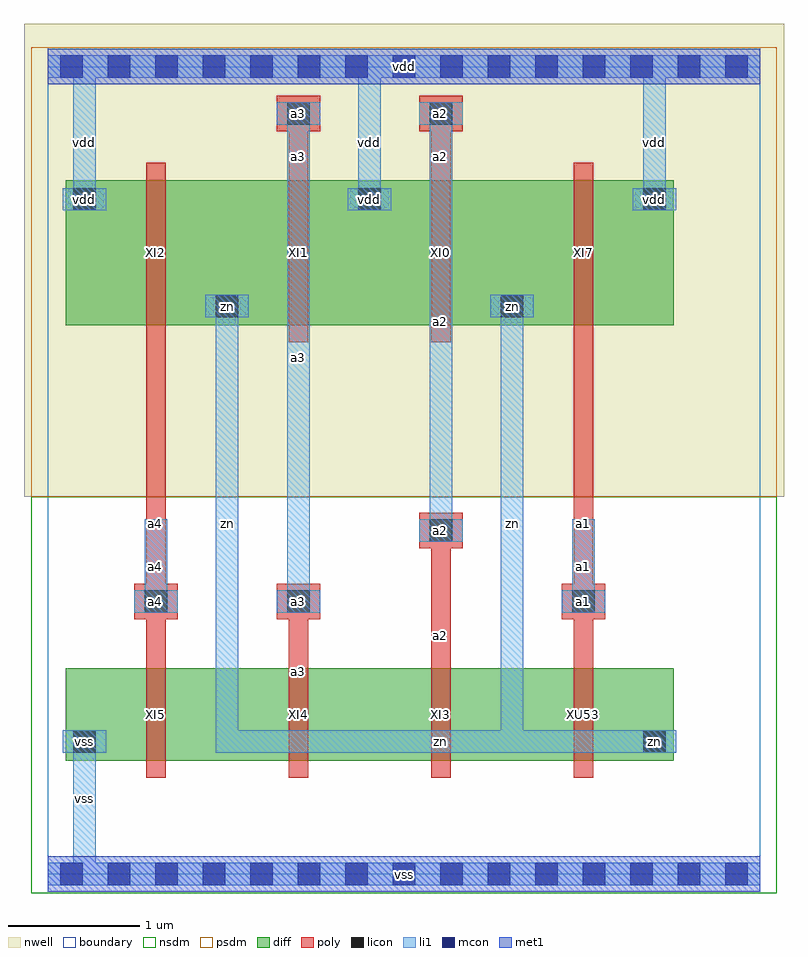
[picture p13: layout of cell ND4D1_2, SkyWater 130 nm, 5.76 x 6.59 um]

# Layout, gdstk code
import gdstk
lib = gdstk.Library(unit=1e-6, precision=1e-09)
def R(c, l, rs):  # rectangles x0, y0, x1, y1
    for r in rs: c.add(gdstk.rectangle(r[:2], r[2:], *l))
def A(c, l, x, y, w, h, nx, ny, dx, dy):  # array of equal rectangles
    R(c, l, [(x+i*dx, y+j*dy, x+i*dx+w, y+j*dy+h) for i in range(nx) for j in range(ny)])
L0_0 = (0, 0)
nwell = (64, 20)
diff = (65, 20)
poly = (66, 20)
licon = (66, 44)
li1 = (67, 20)
mcon = (67, 44)
met1 = (68, 20)
nsdm = (93, 44)
psdm = (94, 20)
boundary = (235, 4)

nd4d1_2 = lib.new_cell('ND4D1_2')
R(nd4d1_2, nwell, [(-0.18,2.86,5.58,6.445)])
A(nd4d1_2, diff, 0.135, 0.86, 1.37, 0.7, 4, 1, 1.08, 0)
A(nd4d1_2, diff, 0.135, 4.16, 1.37, 1.1, 4, 1, 1.08, 0)
A(nd4d1_2, diff, 0.135, 4.97, 0.29, 0.29, 3, 1, 2.16, 0)
R(nd4d1_2, diff, [(0.135,0.86,0.425,1.15), (4.455,0.86,4.745,1.15), (1.215,4.16,1.505,4.45), (3.375,4.16,3.665,4.45)])
A(nd4d1_2, poly, 0.745, 0.73, 0.15, 0.96, 4, 1, 1.08, 0)
A(nd4d1_2, poly, 0.745, 4.03, 0.15, 1.36, 4, 1, 1.08, 0)
R(nd4d1_2, poly, [(0.745,0.93,0.895,4.38), (1.825,0.93,1.975,2.14), (2.905,0.93,3.055,2.68), (3.985,0.93,4.135,4.38), (0.655,1.93,0.985,2.2), (1.735,1.93,2.065,2.2), (3.895,1.93,4.225,2.2), (2.815,2.47,3.145,2.74), (1.825,5.04,1.975,5.84), (2.905,5.04,3.055,5.84), (1.735,5.63,2.065,5.9), (2.815,5.63,3.145,5.9)])
A(nd4d1_2, licon, 0.195, 5.03, 0.17, 0.17, 3, 1, 2.16, 0)
R(nd4d1_2, licon, [(0.195,0.92,0.365,1.09), (4.515,0.92,4.685,1.09), (0.735,1.98,0.905,2.15), (1.815,1.98,1.985,2.15), (3.975,1.98,4.145,2.15), (2.895,2.52,3.065,2.69), (1.275,4.22,1.445,4.39), (3.435,4.22,3.605,4.39), (1.815,5.68,1.985,5.85), (2.895,5.68,3.065,5.85)])
A(nd4d1_2, li1, 0.115, 5.03, 0.33, 0.17, 3, 1, 2.16, 0)
A(nd4d1_2, li1, 0.195, 5.03, 0.17, 1.03, 3, 1, 2.16, 0)
R(nd4d1_2, li1, [(0,-0.085,5.4,0.085), (0.195,0.06,0.365,1.09), (0.115,0.92,0.445,1.09), (1.275,0.92,4.685,1.09), (1.275,0.92,1.445,4.39), (3.435,0.92,3.605,4.39), (4.435,0.92,4.765,1.09), (0.655,1.98,0.985,2.15), (0.735,1.98,0.905,2.69), (1.735,1.98,2.065,2.15), (1.815,1.98,1.985,5.85), (3.895,1.98,4.225,2.15), (3.975,1.98,4.145,2.69), (2.815,2.52,3.145,2.69), (2.895,2.52,3.065,5.85), (1.195,4.22,1.525,4.39), (3.355,4.22,3.685,4.39), (1.735,5.68,2.065,5.85), (2.815,5.68,3.145,5.85), (0,6.035,5.4,6.205)])
A(nd4d1_2, mcon, 0.095, -0.085, 0.17, 0.17, 15, 2, 0.36, 6.12)
R(nd4d1_2, met1, [(0,-0.135,5.4,0.135), (0,5.985,5.4,6.255)])
R(nd4d1_2, nsdm, [(-0.125,-0.145,5.525,0.145), (-0.125,0.145,5.525,2.86)])
R(nd4d1_2, psdm, [(-0.125,2.86,5.525,5.975), (-0.125,5.975,5.525,6.265)])
R(nd4d1_2, boundary, [(0,0,5.4,6.12)])
nd4d1_2.add(gdstk.FlexPath([(0.115,0.355),(4.765,0.355)], 0, ends="flush", simple_path=True, layer=0, datatype=0))  # L0_0
nd4d1_2.add(gdstk.FlexPath([(0.115,1.005),(4.765,1.005)], 0, ends="flush", simple_path=True, layer=0, datatype=0))  # L0_0
nd4d1_2.add(gdstk.FlexPath([(0.115,1.415),(4.765,1.415)], 0, ends="flush", simple_path=True, layer=0, datatype=0))  # L0_0
nd4d1_2.add(gdstk.FlexPath([(0.115,2.065),(4.765,2.065)], 0, ends="flush", simple_path=True, layer=0, datatype=0))  # L0_0
nd4d1_2.add(gdstk.FlexPath([(0.115,2.605),(4.765,2.605)], 0, ends="flush", simple_path=True, layer=0, datatype=0))  # L0_0
nd4d1_2.add(gdstk.FlexPath([(0.115,3.145),(4.765,3.145)], 0, ends="flush", simple_path=True, layer=0, datatype=0))  # L0_0
nd4d1_2.add(gdstk.FlexPath([(0.115,4.305),(4.765,4.305)], 0, ends="flush", simple_path=True, layer=0, datatype=0))  # L0_0
nd4d1_2.add(gdstk.FlexPath([(0.115,4.775),(4.765,4.775)], 0, ends="flush", simple_path=True, layer=0, datatype=0))  # L0_0
nd4d1_2.add(gdstk.FlexPath([(0.115,5.115),(4.765,5.115)], 0, ends="flush", simple_path=True, layer=0, datatype=0))  # L0_0
nd4d1_2.add(gdstk.FlexPath([(0.115,5.765),(4.765,5.765)], 0, ends="flush", simple_path=True, layer=0, datatype=0))  # L0_0
nd4d1_2.add(gdstk.FlexPath([(0.28,0.06),(0.28,6.06)], 0, ends="flush", simple_path=True, layer=0, datatype=0))  # L0_0
nd4d1_2.add(gdstk.FlexPath([(0.82,0.06),(0.82,6.06)], 0, ends="flush", simple_path=True, layer=0, datatype=0))  # L0_0
nd4d1_2.add(gdstk.FlexPath([(1.36,0.06),(1.36,6.06)], 0, ends="flush", simple_path=True, layer=0, datatype=0))  # L0_0
nd4d1_2.add(gdstk.FlexPath([(1.9,0.06),(1.9,6.06)], 0, ends="flush", simple_path=True, layer=0, datatype=0))  # L0_0
nd4d1_2.add(gdstk.FlexPath([(2.44,0.06),(2.44,6.06)], 0, ends="flush", simple_path=True, layer=0, datatype=0))  # L0_0
nd4d1_2.add(gdstk.FlexPath([(2.98,0.06),(2.98,6.06)], 0, ends="flush", simple_path=True, layer=0, datatype=0))  # L0_0
nd4d1_2.add(gdstk.FlexPath([(3.52,0.06),(3.52,6.06)], 0, ends="flush", simple_path=True, layer=0, datatype=0))  # L0_0
nd4d1_2.add(gdstk.FlexPath([(4.06,0.06),(4.06,6.06)], 0, ends="flush", simple_path=True, layer=0, datatype=0))  # L0_0
nd4d1_2.add(gdstk.FlexPath([(4.6,0.06),(4.6,6.06)], 0, ends="flush", simple_path=True, layer=0, datatype=0))  # L0_0
nd4d1_2.add(gdstk.Label('XI3', (2.98,1.21), layer=65, texttype=20))
nd4d1_2.add(gdstk.Label('XI5', (0.82,1.21), layer=65, texttype=20))
nd4d1_2.add(gdstk.Label('XI4', (1.9,1.21), layer=65, texttype=20))
nd4d1_2.add(gdstk.Label('XU53', (4.06,1.21), layer=65, texttype=20))
nd4d1_2.add(gdstk.Label('XI7', (4.06,4.71), layer=65, texttype=20))
nd4d1_2.add(gdstk.Label('XI2', (0.82,4.71), layer=65, texttype=20))
nd4d1_2.add(gdstk.Label('XI1', (1.9,4.71), layer=65, texttype=20))
nd4d1_2.add(gdstk.Label('XI0', (2.98,4.71), layer=65, texttype=20))
nd4d1_2.add(gdstk.Label('zn', (4.6,1.005), layer=65, texttype=20))
nd4d1_2.add(gdstk.Label('zn', (3.52,4.305), layer=65, texttype=20))
nd4d1_2.add(gdstk.Label('zn', (1.36,4.305), layer=65, texttype=20))
nd4d1_2.add(gdstk.Label('vss', (0.28,1.005), layer=65, texttype=20))
nd4d1_2.add(gdstk.Label('vdd', (4.6,5.115), layer=65, texttype=20))
nd4d1_2.add(gdstk.Label('vdd', (0.28,5.115), layer=65, texttype=20))
nd4d1_2.add(gdstk.Label('vdd', (2.44,5.115), layer=65, texttype=20))
nd4d1_2.add(gdstk.Label('a2', (2.98,1.805), layer=66, texttype=20))
nd4d1_2.add(gdstk.Label('a2', (2.98,2.605), layer=66, texttype=20))
nd4d1_2.add(gdstk.Label('a2', (2.98,5.765), layer=66, texttype=20))
nd4d1_2.add(gdstk.Label('a2', (2.98,5.44), layer=66, texttype=20))
nd4d1_2.add(gdstk.Label('a4', (0.82,2.655), layer=66, texttype=20))
nd4d1_2.add(gdstk.Label('a4', (0.82,2.065), layer=66, texttype=20))
nd4d1_2.add(gdstk.Label('a3', (1.9,1.535), layer=66, texttype=20))
nd4d1_2.add(gdstk.Label('a3', (1.9,2.065), layer=66, texttype=20))
nd4d1_2.add(gdstk.Label('a3', (1.9,5.765), layer=66, texttype=20))
nd4d1_2.add(gdstk.Label('a3', (1.9,5.44), layer=66, texttype=20))
nd4d1_2.add(gdstk.Label('a1', (4.06,2.655), layer=66, texttype=20))
nd4d1_2.add(gdstk.Label('a1', (4.06,2.065), layer=66, texttype=20))
nd4d1_2.add(gdstk.Label('a2', (2.98,2.605), layer=66, texttype=44))
nd4d1_2.add(gdstk.Label('a2', (2.98,5.765), layer=66, texttype=44))
nd4d1_2.add(gdstk.Label('a4', (0.82,2.065), layer=66, texttype=44))
nd4d1_2.add(gdstk.Label('a3', (1.9,2.065), layer=66, texttype=44))
nd4d1_2.add(gdstk.Label('a3', (1.9,5.765), layer=66, texttype=44))
nd4d1_2.add(gdstk.Label('zn', (4.6,1.005), layer=66, texttype=44))
nd4d1_2.add(gdstk.Label('zn', (3.52,4.305), layer=66, texttype=44))
nd4d1_2.add(gdstk.Label('zn', (1.36,4.305), layer=66, texttype=44))
nd4d1_2.add(gdstk.Label('a1', (4.06,2.065), layer=66, texttype=44))
nd4d1_2.add(gdstk.Label('vss', (0.28,1.005), layer=66, texttype=44))
nd4d1_2.add(gdstk.Label('vdd', (4.6,5.115), layer=66, texttype=44))
nd4d1_2.add(gdstk.Label('vdd', (0.28,5.115), layer=66, texttype=44))
nd4d1_2.add(gdstk.Label('vdd', (2.44,5.115), layer=66, texttype=44))
nd4d1_2.add(gdstk.Label('a2', (2.98,2.605), layer=67, texttype=16))
nd4d1_2.add(gdstk.Label('a2', (2.98,4.185), layer=67, texttype=16))
nd4d1_2.add(gdstk.Label('a2', (2.98,5.765), layer=67, texttype=16))
nd4d1_2.add(gdstk.Label('a4', (0.82,2.065), layer=67, texttype=16))
nd4d1_2.add(gdstk.Label('a4', (0.82,2.335), layer=67, texttype=16))
nd4d1_2.add(gdstk.Label('a3', (1.9,2.065), layer=67, texttype=16))
nd4d1_2.add(gdstk.Label('a3', (1.9,3.915), layer=67, texttype=16))
nd4d1_2.add(gdstk.Label('a3', (1.9,5.765), layer=67, texttype=16))
nd4d1_2.add(gdstk.Label('zn', (4.6,1.005), layer=67, texttype=16))
nd4d1_2.add(gdstk.Label('zn', (3.52,4.305), layer=67, texttype=16))
nd4d1_2.add(gdstk.Label('zn', (1.36,4.305), layer=67, texttype=16))
nd4d1_2.add(gdstk.Label('zn', (2.98,1.005), layer=67, texttype=16))
nd4d1_2.add(gdstk.Label('zn', (1.36,2.655), layer=67, texttype=16))
nd4d1_2.add(gdstk.Label('zn', (3.52,2.655), layer=67, texttype=16))
nd4d1_2.add(gdstk.Label('a1', (4.06,2.065), layer=67, texttype=16))
nd4d1_2.add(gdstk.Label('a1', (4.06,2.335), layer=67, texttype=16))
nd4d1_2.add(gdstk.Label('vss', (0.28,1.005), layer=67, texttype=20))
nd4d1_2.add(gdstk.Label('vss', (0.28,0.575), layer=67, texttype=20))
nd4d1_2.add(gdstk.Label('vdd', (4.6,5.115), layer=67, texttype=20))
nd4d1_2.add(gdstk.Label('vdd', (4.6,5.545), layer=67, texttype=20))
nd4d1_2.add(gdstk.Label('vdd', (0.28,5.115), layer=67, texttype=20))
nd4d1_2.add(gdstk.Label('vdd', (0.28,5.545), layer=67, texttype=20))
nd4d1_2.add(gdstk.Label('vdd', (2.44,5.115), layer=67, texttype=20))
nd4d1_2.add(gdstk.Label('vdd', (2.44,5.545), layer=67, texttype=20))
nd4d1_2.add(gdstk.Label('vss', (2.7,0), layer=67, texttype=16))
nd4d1_2.add(gdstk.Label('vdd', (2.7,6.12), layer=67, texttype=16))
nd4d1_2.add(gdstk.Label('vss', (2.7,0), layer=68, texttype=16))
nd4d1_2.add(gdstk.Label('vdd', (2.7,6.12), layer=68, texttype=16))

lib.write_gds('ND4D1_2.gds')
